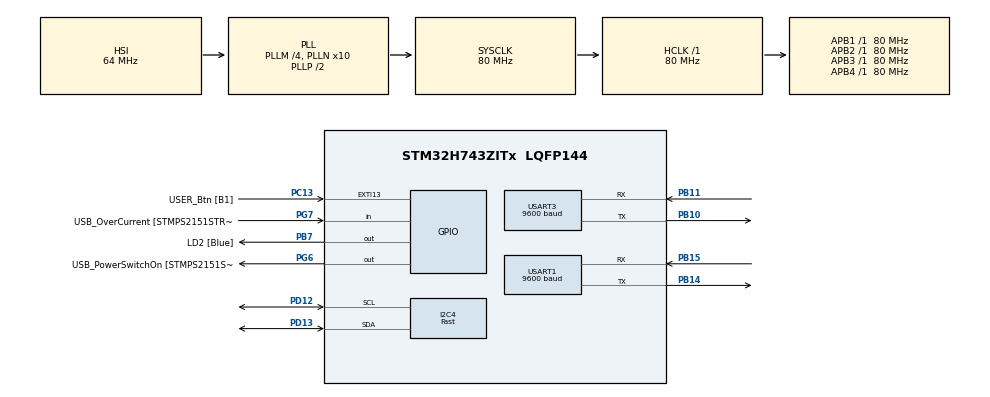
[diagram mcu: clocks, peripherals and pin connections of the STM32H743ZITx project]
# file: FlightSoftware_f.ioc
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FREERTOS.Tasks01=defaultTask,-3,128,StartDefaultTask,Default,NULL,Dynamic,NULL,NULL;GPS_Thread,-3,128,GPS_Entry,Default,NULL,Dynamic,NULL,NULL;XBEE_Thread,-3,128,XBEE_Entry,Default,NULL,Dynamic,NULL,NULL;BMP388_Thread,-3,128,BMP388_Entry,Default,NULL,Dynamic,NULL,NULL;GZP_Thread,-3,128,GZP_Entry,Default,NULL,Dynamic,NULL,NULL;ICM_Thread,-3,128,ICM_Entry,Default,NULL,Dynamic,NULL,NULL
FREERTOS.configUSE_NEWLIB_REENTRANT=1
I2C4.CustomTiming=Disabled
I2C4.I2C_Speed_Mode=I2C_Fast
I2C4.Timing=0x00702991
Mcu.Family=STM32H7
Mcu.Name=STM32H743ZITx
Mcu.Package=LQFP144
NVIC.PriorityGroup=NVIC_PRIORITYGROUP_4
NVIC.TIM1_UP_IRQn=true\:15\:0\:false\:false\:true\:false\:false\:true\:true
NVIC.TimeBase=TIM1_UP_IRQn
NVIC.TimeBaseIP=TIM1
PA1.GPIO_Label=RMII_REF_CLK
PA1.Signal=ETH_REF_CLK
PA10.GPIO_Label=USB_ID
PA10.Signal=USB_OTG_FS_ID
PA11.GPIO_Label=USB_DM
PA11.Signal=USB_OTG_FS_DM
PA12.GPIO_Label=USB_DP
PA12.Signal=USB_OTG_FS_DP
PA13\ (JTMS/SWDIO).GPIO_Label=TMS
PA13\ (JTMS/SWDIO).Signal=DEBUG_JTMS-SWDIO
PA14\ (JTCK/SWCLK).GPIO_Label=TCK
PA14\ (JTCK/SWCLK).Signal=DEBUG_JTCK-SWCLK
PA2.GPIO_Label=RMII_MDIO
PA2.Signal=ETH_MDIO
PA7.GPIO_Label=RMII_CRS_DV
PA7.Signal=ETH_CRS_DV
PA8.GPIO_Label=USB_SOF [TP1]
PA8.Signal=USB_OTG_FS_SOF
PA9.GPIO_Label=USB_VBUS
PA9.Signal=USB_OTG_FS_VBUS
PB10.Mode=Asynchronous
PB10.Signal=USART3_TX
PB11.Mode=Asynchronous
PB11.Signal=USART3_RX
PB13.GPIO_Label=RMII_TXD1
PB13.Signal=ETH_TXD1
PB14.Mode=Asynchronous
PB14.Signal=USART1_TX
PB15.Mode=Asynchronous
PB15.Signal=USART1_RX
PB3\ (JTDO/TRACESWO).GPIO_Label=SWO
PB3\ (JTDO/TRACESWO).Signal=DEBUG_JTDO-SWO
PB7.GPIO_Label=LD2 [Blue]
PB7.Signal=GPIO_Output
PC1.GPIO_Label=RMII_MDC
PC1.Signal=ETH_MDC
PC13.GPIO_Label=USER_Btn [B1]
PC13.Signal=GPXTI13
PC14-OSC32_IN\ (OSC32_IN).Signal=RCC_OSC32_IN
PC15-OSC32_OUT\ (OSC32_OUT).Signal=RCC_OSC32_OUT
PC4.GPIO_Label=RMII_RXD0
PC4.Signal=ETH_RXD0
PC5.GPIO_Label=RMII_RXD1
PC5.Signal=ETH_RXD1
PD12.Mode=I2C
PD12.Signal=I2C4_SCL
PD13.Mode=I2C
PD13.Signal=I2C4_SDA
PG11.GPIO_Label=RMII_TX_EN
PG11.Signal=ETH_TX_EN
PG13.GPIO_Label=RMII_TXD0
PG13.Signal=ETH_TXD0
PG6.GPIO_Label=USB_PowerSwitchOn [STMPS2151STR_EN]
PG6.Signal=GPIO_Output
PG7.GPIO_Label=USB_OverCurrent [STMPS2151STR_FAULT]
PG7.Signal=GPIO_Input
PH0-OSC_IN\ (PH0).GPIO_Label=MCO
PH0-OSC_IN\ (PH0).Signal=RCC_OSC_IN
ProjectManager.HeapSize=0x200
ProjectManager.StackSize=0x400
ProjectManager.TargetToolchain=STM32CubeIDE
RCC.48MHZClocksFreq_Value=24000000
RCC.ADCFreq_Value=129000000
RCC.AHBFreq_Value=216000000
RCC.APB1CLKDivider=RCC_HCLK_DIV4
RCC.APB1Freq_Value=80000000
RCC.APB1TimFreq_Value=108000000
RCC.APB2CLKDivider=RCC_HCLK_DIV2
RCC.APB2Freq_Value=80000000
RCC.APB2TimFreq_Value=216000000
RCC.APB3Freq_Value=80000000
RCC.APB4Freq_Value=80000000
RCC.CortexFreq_Value=80000000
RCC.DIVM1=4
RCC.DIVN1=10
RCC.DIVQ1=4
RCC.HCLKFreq_Value=80000000
RCC.HSE_VALUE=8000000
RCC.HSI_VALUE=64000000
RCC.PLLM=25
RCC.PLLMUL=RCC_PLL_MUL9
RCC.PLLN=432
RCC.PLLQ=9
RCC.PRESCALERUSB=RCC_USBCLKSOURCE_PLL_DIV1_5
RCC.PWR_Regulator_Voltage_Scale=PWR_REGULATOR_VOLTAGE_SCALE1
RCC.SYSCLKFreq_VALUE=80000000
RCC.SYSCLKSource=RCC_SYSCLKSOURCE_PLLCLK
RCC.SYSCLKSourceVirtual=RCC_SYSCLKSOURCE_PLLCLK
RCC.USBFreq_Value=40000000
RCC.VCOOutputFreq_Value=432000000
USART1.BaudRate=9600
USART1.ClockPrescaler=PRESCALER_DIV2
USART1.VirtualMode-Asynchronous=VM_ASYNC
USART3.BaudRate=9600
USART3.ClockPrescaler=PRESCALER_DIV2
USART3.VirtualMode-Asynchronous=VM_ASYNC
VP_FREERTOS_VS_CMSIS_V1.Mode=CMSIS_V1
VP_SYS_VS_tim1.Mode=TIM1
board=NUCLEO-H743ZI

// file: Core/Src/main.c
/* USER CODE BEGIN Header */
/**
  ******************************************************************************
  * @file           : main.c
  * @brief          : Main program body
  ******************************************************************************
  * @attention
  *
  * Copyright (c) 2024 STMicroelectronics.
  * All rights reserved.
  *
  * This software is licensed under terms that can be found in the LICENSE file
  * in the root directory of this software component.
  * If no LICENSE file comes with this software, it is provided AS-IS.
  *
  ******************************************************************************
  */
/* USER CODE END Header */
#include "main.h"
#include "cmsis_os.h"

/* USER CODE BEGIN Includes */
#include "GZP6859D.h"
#include "BMP388.h"
#include "ICM-42688.h"
/* USER CODE END Includes */

/* USER CODE BEGIN PD */
#define PMTK_SET_NMEA_OUTPUT_GGAONLY "$PMTK314,0,0,0,1,0,0,0,0,0,0,0,0,0,0,0,0,0,0,0*29\r\n"
/* USER CODE END PD */

I2C_HandleTypeDef hi2c4;

UART_HandleTypeDef huart1;
UART_HandleTypeDef huart3;

osThreadId defaultTaskHandle;
osThreadId GPS_ThreadHandle;
osThreadId XBEE_ThreadHandle;
osThreadId BMP388_ThreadHandle;
osThreadId GZP_ThreadHandle;
osThreadId ICM_ThreadHandle;
/* USER CODE BEGIN PV */
uint8_t GPS_Buffer[100];
uint8_t GZP_Buffer[5];
uint8_t BMP388_Buffer[10];

uint8_t PACKET[21][10];
uint16_t control = 0;
/* USER CODE END PV */

void SystemClock_Config(void);
static void MX_GPIO_Init(void);
static void MX_USART3_UART_Init(void);
static void MX_USART1_UART_Init(void);
static void MX_I2C4_Init(void);
void StartDefaultTask(void const * argument);
void GPS_Entry(void const * argument);
void XBEE_Entry(void const * argument);
void BMP388_Entry(void const * argument);
void GZP_Entry(void const * argument);
void ICM_Entry(void const * argument);

int main(void)
{

  /* MCU Configuration--------------------------------------------------------*/

  /* Reset of all peripherals, Initializes the Flash interface and the Systick. */
  HAL_Init();

  /* Configure the system clock */
  SystemClock_Config();

  /* Initialize all configured peripherals */
  MX_GPIO_Init();
  MX_USART3_UART_Init();
  MX_USART1_UART_Init();
  MX_I2C4_Init();

  /* Create the thread(s) */
  /* definition and creation of defaultTask */
  osThreadDef(defaultTask, StartDefaultTask, osPriorityIdle, 0, 128);
  defaultTaskHandle = osThreadCreate(osThread(defaultTask), NULL);

  /* definition and creation of GPS_Thread */
  osThreadDef(GPS_Thread, GPS_Entry, osPriorityIdle, 0, 128);
  GPS_ThreadHandle = osThreadCreate(osThread(GPS_Thread), NULL);

  /* definition and creation of XBEE_Thread */
  osThreadDef(XBEE_Thread, XBEE_Entry, osPriorityIdle, 0, 128);
  XBEE_ThreadHandle = osThreadCreate(osThread(XBEE_Thread), NULL);

  /* definition and creation of BMP388_Thread */
  osThreadDef(BMP388_Thread, BMP388_Entry, osPriorityIdle, 0, 128);
  BMP388_ThreadHandle = osThreadCreate(osThread(BMP388_Thread), NULL);

  /* definition and creation of GZP_Thread */
  osThreadDef(GZP_Thread, GZP_Entry, osPriorityIdle, 0, 128);
  GZP_ThreadHandle = osThreadCreate(osThread(GZP_Thread), NULL);

  /* definition and creation of ICM_Thread */
  osThreadDef(ICM_Thread, ICM_Entry, osPriorityIdle, 0, 128);
  ICM_ThreadHandle = osThreadCreate(osThread(ICM_Thread), NULL);

  /* Start scheduler */
  osKernelStart();
  /* We should never get here as control is now taken by the scheduler */
  /* Infinite loop */
  while (1)
  {

  }
}

void SystemClock_Config(void)
{
  RCC_OscInitTypeDef RCC_OscInitStruct = {0};
  RCC_ClkInitTypeDef RCC_ClkInitStruct = {0};

  /** Supply configuration update enable
  */
  HAL_PWREx_ConfigSupply(PWR_LDO_SUPPLY);

  /** Configure the main internal regulator output voltage
  */
  __HAL_PWR_VOLTAGESCALING_CONFIG(PWR_REGULATOR_VOLTAGE_SCALE1);

  while(!__HAL_PWR_GET_FLAG(PWR_FLAG_VOSRDY)) {}

  /** Initializes the RCC Oscillators according to the specified parameters
  * in the RCC_OscInitTypeDef structure.
  */
  RCC_OscInitStruct.OscillatorType = RCC_OSCILLATORTYPE_HSI;
  RCC_OscInitStruct.HSIState = RCC_HSI_DIV1;
  RCC_OscInitStruct.HSICalibrationValue = RCC_HSICALIBRATION_DEFAULT;
  RCC_OscInitStruct.PLL.PLLState = RCC_PLL_ON;
  RCC_OscInitStruct.PLL.PLLSource = RCC_PLLSOURCE_HSI;
  RCC_OscInitStruct.PLL.PLLM = 4;
  RCC_OscInitStruct.PLL.PLLN = 10;
  RCC_OscInitStruct.PLL.PLLP = 2;
  RCC_OscInitStruct.PLL.PLLQ = 4;
  RCC_OscInitStruct.PLL.PLLR = 2;
  RCC_OscInitStruct.PLL.PLLRGE = RCC_PLL1VCIRANGE_3;
  RCC_OscInitStruct.PLL.PLLVCOSEL = RCC_PLL1VCOMEDIUM;
  RCC_OscInitStruct.PLL.PLLFRACN = 0;
  if (HAL_RCC_OscConfig(&RCC_OscInitStruct) != HAL_OK)
  {
    Error_Handler();
  }

  /** Initializes the CPU, AHB and APB buses clocks
  */
  RCC_ClkInitStruct.ClockType = RCC_CLOCKTYPE_HCLK|RCC_CLOCKTYPE_SYSCLK
                              |RCC_CLOCKTYPE_PCLK1|RCC_CLOCKTYPE_PCLK2
                              |RCC_CLOCKTYPE_D3PCLK1|RCC_CLOCKTYPE_D1PCLK1;
  RCC_ClkInitStruct.SYSCLKSource = RCC_SYSCLKSOURCE_PLLCLK;
  RCC_ClkInitStruct.SYSCLKDivider = RCC_SYSCLK_DIV1;
  RCC_ClkInitStruct.AHBCLKDivider = RCC_HCLK_DIV1;
  RCC_ClkInitStruct.APB3CLKDivider = RCC_APB3_DIV1;
  RCC_ClkInitStruct.APB1CLKDivider = RCC_APB1_DIV1;
  RCC_ClkInitStruct.APB2CLKDivider = RCC_APB2_DIV1;
  RCC_ClkInitStruct.APB4CLKDivider = RCC_APB4_DIV1;

  if (HAL_RCC_ClockConfig(&RCC_ClkInitStruct, FLASH_LATENCY_1) != HAL_OK)
  {
    Error_Handler();
  }
}

static void MX_I2C4_Init(void)
{

  hi2c4.Instance = I2C4;
  hi2c4.Init.Timing = 0x00702991;
  hi2c4.Init.OwnAddress1 = 0;
  hi2c4.Init.AddressingMode = I2C_ADDRESSINGMODE_7BIT;
  hi2c4.Init.DualAddressMode = I2C_DUALADDRESS_DISABLE;
  hi2c4.Init.OwnAddress2 = 0;
  hi2c4.Init.OwnAddress2Masks = I2C_OA2_NOMASK;
  hi2c4.Init.GeneralCallMode = I2C_GENERALCALL_DISABLE;
  hi2c4.Init.NoStretchMode = I2C_NOSTRETCH_DISABLE;
  if (HAL_I2C_Init(&hi2c4) != HAL_OK)
  {
    Error_Handler();
  }

  /** Configure Analogue filter
  */
  if (HAL_I2CEx_ConfigAnalogFilter(&hi2c4, I2C_ANALOGFILTER_ENABLE) != HAL_OK)
  {
    Error_Handler();
  }

  /** Configure Digital filter
  */
  if (HAL_I2CEx_ConfigDigitalFilter(&hi2c4, 0) != HAL_OK)
  {
    Error_Handler();
  }

}

static void MX_USART1_UART_Init(void)
{

  huart1.Instance = USART1;
  huart1.Init.BaudRate = 9600;
  huart1.Init.WordLength = UART_WORDLENGTH_8B;
  huart1.Init.StopBits = UART_STOPBITS_1;
  huart1.Init.Parity = UART_PARITY_NONE;
  huart1.Init.Mode = UART_MODE_TX_RX;
  huart1.Init.HwFlowCtl = UART_HWCONTROL_NONE;
  huart1.Init.OverSampling = UART_OVERSAMPLING_16;
  huart1.Init.OneBitSampling = UART_ONE_BIT_SAMPLE_DISABLE;
  huart1.Init.ClockPrescaler = UART_PRESCALER_DIV2;
  huart1.AdvancedInit.AdvFeatureInit = UART_ADVFEATURE_NO_INIT;
  if (HAL_UART_Init(&huart1) != HAL_OK)
  {
    Error_Handler();
  }
  if (HAL_UARTEx_SetTxFifoThreshold(&huart1, UART_TXFIFO_THRESHOLD_1_8) != HAL_OK)
  {
    Error_Handler();
  }
  if (HAL_UARTEx_SetRxFifoThreshold(&huart1, UART_RXFIFO_THRESHOLD_1_8) != HAL_OK)
  {
    Error_Handler();
  }
  if (HAL_UARTEx_DisableFifoMode(&huart1) != HAL_OK)
  {
    Error_Handler();
  }

}

static void MX_USART3_UART_Init(void)
{

  huart3.Instance = USART3;
  huart3.Init.BaudRate = 9600;
  huart3.Init.WordLength = UART_WORDLENGTH_8B;
  huart3.Init.StopBits = UART_STOPBITS_1;
  huart3.Init.Parity = UART_PARITY_NONE;
  huart3.Init.Mode = UART_MODE_TX_RX;
  huart3.Init.HwFlowCtl = UART_HWCONTROL_NONE;
  huart3.Init.OverSampling = UART_OVERSAMPLING_16;
  huart3.Init.OneBitSampling = UART_ONE_BIT_SAMPLE_DISABLE;
  huart3.Init.ClockPrescaler = UART_PRESCALER_DIV2;
  huart3.AdvancedInit.AdvFeatureInit = UART_ADVFEATURE_NO_INIT;
  if (HAL_UART_Init(&huart3) != HAL_OK)
  {
    Error_Handler();
  }
  if (HAL_UARTEx_SetTxFifoThreshold(&huart3, UART_TXFIFO_THRESHOLD_1_8) != HAL_OK)
  {
    Error_Handler();
  }
  if (HAL_UARTEx_SetRxFifoThreshold(&huart3, UART_RXFIFO_THRESHOLD_1_8) != HAL_OK)
  {
    Error_Handler();
  }
  if (HAL_UARTEx_DisableFifoMode(&huart3) != HAL_OK)
  {
    Error_Handler();
  }

}

static void MX_GPIO_Init(void)
{
  GPIO_InitTypeDef GPIO_InitStruct = {0};

  /* GPIO Ports Clock Enable */
  __HAL_RCC_GPIOC_CLK_ENABLE();
  __HAL_RCC_GPIOH_CLK_ENABLE();
  __HAL_RCC_GPIOA_CLK_ENABLE();
  __HAL_RCC_GPIOB_CLK_ENABLE();
  __HAL_RCC_GPIOD_CLK_ENABLE();
  __HAL_RCC_GPIOG_CLK_ENABLE();

  /*Configure GPIO pin Output Level */
  HAL_GPIO_WritePin(USB_PowerSwitchOn_GPIO_Port, USB_PowerSwitchOn_Pin, GPIO_PIN_RESET);

  /*Configure GPIO pin Output Level */
  HAL_GPIO_WritePin(LD2_GPIO_Port, LD2_Pin, GPIO_PIN_RESET);

  /*Configure GPIO pin : USER_Btn_Pin */
  GPIO_InitStruct.Pin = USER_Btn_Pin;
  GPIO_InitStruct.Mode = GPIO_MODE_IT_RISING;
  GPIO_InitStruct.Pull = GPIO_NOPULL;
  HAL_GPIO_Init(USER_Btn_GPIO_Port, &GPIO_InitStruct);

  /*Configure GPIO pins : RMII_MDC_Pin RMII_RXD0_Pin RMII_RXD1_Pin */
  GPIO_InitStruct.Pin = RMII_MDC_Pin|RMII_RXD0_Pin|RMII_RXD1_Pin;
  GPIO_InitStruct.Mode = GPIO_MODE_AF_PP;
  GPIO_InitStruct.Pull = GPIO_NOPULL;
  GPIO_InitStruct.Speed = GPIO_SPEED_FREQ_LOW;
  GPIO_InitStruct.Alternate = GPIO_AF11_ETH;
  HAL_GPIO_Init(GPIOC, &GPIO_InitStruct);

  /*Configure GPIO pins : RMII_REF_CLK_Pin RMII_MDIO_Pin RMII_CRS_DV_Pin */
  GPIO_InitStruct.Pin = RMII_REF_CLK_Pin|RMII_MDIO_Pin|RMII_CRS_DV_Pin;
  GPIO_InitStruct.Mode = GPIO_MODE_AF_PP;
  GPIO_InitStruct.Pull = GPIO_NOPULL;
  GPIO_InitStruct.Speed = GPIO_SPEED_FREQ_LOW;
  GPIO_InitStruct.Alternate = GPIO_AF11_ETH;
  HAL_GPIO_Init(GPIOA, &GPIO_InitStruct);

  /*Configure GPIO pin : RMII_TXD1_Pin */
  GPIO_InitStruct.Pin = RMII_TXD1_Pin;
  GPIO_InitStruct.Mode = GPIO_MODE_AF_PP;
  GPIO_InitStruct.Pull = GPIO_NOPULL;
  GPIO_InitStruct.Speed = GPIO_SPEED_FREQ_LOW;
  GPIO_InitStruct.Alternate = GPIO_AF11_ETH;
  HAL_GPIO_Init(RMII_TXD1_GPIO_Port, &GPIO_InitStruct);

  /*Configure GPIO pin : USB_PowerSwitchOn_Pin */
  GPIO_InitStruct.Pin = USB_PowerSwitchOn_Pin;
  GPIO_InitStruct.Mode = GPIO_MODE_OUTPUT_PP;
  GPIO_InitStruct.Pull = GPIO_NOPULL;
  GPIO_InitStruct.Speed = GPIO_SPEED_FREQ_LOW;
  HAL_GPIO_Init(USB_PowerSwitchOn_GPIO_Port, &GPIO_InitStruct);

  /*Configure GPIO pin : USB_OverCurrent_Pin */
  GPIO_InitStruct.Pin = USB_OverCurrent_Pin;
  GPIO_InitStruct.Mode = GPIO_MODE_INPUT;
  GPIO_InitStruct.Pull = GPIO_NOPULL;
  HAL_GPIO_Init(USB_OverCurrent_GPIO_Port, &GPIO_InitStruct);

  /*Configure GPIO pins : USB_SOF_Pin USB_ID_Pin USB_DM_Pin USB_DP_Pin */
  GPIO_InitStruct.Pin = USB_SOF_Pin|USB_ID_Pin|USB_DM_Pin|USB_DP_Pin;
  GPIO_InitStruct.Mode = GPIO_MODE_AF_PP;
  GPIO_InitStruct.Pull = GPIO_NOPULL;
  GPIO_InitStruct.Speed = GPIO_SPEED_FREQ_LOW;
  GPIO_InitStruct.Alternate = GPIO_AF10_OTG1_FS;
  HAL_GPIO_Init(GPIOA, &GPIO_InitStruct);

  /*Configure GPIO pins : RMII_TX_EN_Pin RMII_TXD0_Pin */
  GPIO_InitStruct.Pin = RMII_TX_EN_Pin|RMII_TXD0_Pin;
  GPIO_InitStruct.Mode = GPIO_MODE_AF_PP;
  GPIO_InitStruct.Pull = GPIO_NOPULL;
  GPIO_InitStruct.Speed = GPIO_SPEED_FREQ_LOW;
  GPIO_InitStruct.Alternate = GPIO_AF11_ETH;
  HAL_GPIO_Init(GPIOG, &GPIO_InitStruct);

  /*Configure GPIO pin : LD2_Pin */
  GPIO_InitStruct.Pin = LD2_Pin;
  GPIO_InitStruct.Mode = GPIO_MODE_OUTPUT_PP;
  GPIO_InitStruct.Pull = GPIO_NOPULL;
  GPIO_InitStruct.Speed = GPIO_SPEED_FREQ_LOW;
  HAL_GPIO_Init(LD2_GPIO_Port, &GPIO_InitStruct);

}

void StartDefaultTask(void const * argument)
{
  /* USER CODE BEGIN 5 */
  /* Infinite loop */
  for(;;)
  {
	  // Let Bit mask know, you would like to read
	  osDelay(10000);
	  for(;;){
		  control |= check;
		  if (control && !(control & (control - 1))){
			  osDelay(10);
			  control &= ~(check);
		  }
		  else continue;
	  }

  }
  /* USER CODE END 5 */
}

void GPS_Entry(void const * argument)
{
  /* USER CODE BEGIN GPS_Entry */
  /* Infinite loop */

	// Sending Configuration String to GPS
	HAL_UART_Transmit(&huart3, (uint8_t *)PMTK_SET_NMEA_OUTPUT_GGAONLY, sizeof(PMTK_SET_NMEA_OUTPUT_GGAONLY), 500);

  for(;;)
  {
	  	 // Bit-mapping Mutex Alike
		if ((control & check) != check){
			//Set this threads bit to 1 to let other threads know its occupied
			control |= (1 << 0);
			//Code goes in here
			HAL_UART_Receive(&huart3, (uint8_t *)GPS_Buffer, sizeof(GPS_Buffer), 1000);
			PACKET[5][0] = 'c';
			//Set this thread bit back off
			control &= ~(1 << 0);
		}

	  //int _ = 0;
  }
  /* USER CODE END GPS_Entry */
}

void XBEE_Entry(void const * argument)
{
  /* USER CODE BEGIN XBEE_Entry */
  /* Infinite loop */

  for(;;)
  {
	  //uint8_t AT_SH [100] = { "This is a test"};
	  // Bit-mapping Mutex Alike
		if ((control & check) != check){
			//Set this threads bit to 1 to let other threads know its occupied
			control |= (1 << 1);
			//Code goes in here
			// Sending Message to other USB.
				//HAL_UART_Transmit(&huart1, (uint8_t *)AT_SH, 20, 1000);

			//This is how to receive a mesage from XBee
//				if (HAL_UART_Receive(&huart1, (uint8_t *)AT_SH, 1, 0) == HAL_OK){
//					auto t = HAL_UART_Receive(&huart1, (uint8_t *)(AT_SH+1), 80, 1000);
//					int i = 9;
//					osDelay(1000);
//				}
				//Set this thread bit back off
				control &= ~(1 << 1);
		}
  }
  /* USER CODE END XBEE_Entry */
}

void BMP388_Entry(void const * argument)
{
  /* USER CODE BEGIN BMP388_Entry */
  /* Infinite loop */
	BMP388_sensor *sensor = BMP388_sensor_create();
	sensor->configure_sensor((BMP388_sensor *)sensor, &hi2c4);
  for(;;)
  {
	  // Bit-mapping Mutex Alike
		if ((control & check) != check){
			//Set this threads bit to 1 to let other threads know its occupied
			control |= (1 << 2);
			//Code goes in here
			  sensor->get_compensated((BMP388_sensor *)sensor, &hi2c4);
			  float temp = sensor->data.T_LIN; //-> C
			  float press = sensor->data.P_LIN; // -> Pa
			  PACKET[5][0] = 'c';
			//Set this thread bit back off
			  control &= ~(1 << 2);
	}

  }
  free(sensor);
  /* USER CODE END BMP388_Entry */
}

void GZP_Entry(void const * argument)
{
  /* USER CODE BEGIN GZP_Entry */
  /* Infinite loop */
  for(;;)
  {
	  // Bit-mapping Mutex Alike
		if ((control & check) != check){
			//Set this threads bit to 1 to let other threads know its occupied
			control |= (1 << 3);
			//Code goes in here
			GZP_READ_DATA(&hi2c4, (uint8_t *) GZP_Buffer);
			double gzp_press = GZP_READ_PRESSURE((uint8_t *) GZP_Buffer);
			double gzp_temp = GZP_READ_TEMP((uint8_t *) GZP_Buffer);
			double gzp_speed = GZP_CALC_SPEED(&hi2c4);
			PACKET[5][0] = 'c';
			osDelay(100);
			//Set this thread bit back off
			control &= ~(1 << 3);
		}

  }
  /* USER CODE END GZP_Entry */
}

void ICM_Entry(void const * argument)
{
  /* USER CODE BEGIN ICM_Entry */
  /* Infinite loop */
	ICM_data *icm_sensor = ICM_sensor_create();
	setup_ICM(&hi2c4);

  for(;;)
  {
	  // Bit-mapping Mutex Alike
	  			if ((control & check) != check){
	  				//Set this threads bit to 1 to let other threads know its occupied
	  				control |= (1 << 4);
	  				//Code goes in here
	  				icm_sensor->collect_data((ICM_data *)icm_sensor,  &hi2c4);
	  				double gyro_x = icm_sensor->GYRO_Y;
	  				PACKET[5][0] = 'c';
	  				//Set this thread bit back off
	  				control &= ~(1 << 4);
	  		}

  }
  /* USER CODE END ICM_Entry */
}

void HAL_TIM_PeriodElapsedCallback(TIM_HandleTypeDef *htim)
{
  if (htim->Instance == TIM1) {
    HAL_IncTick();
  }
}

void Error_Handler(void)
{
  __disable_irq();
  while (1)
  {
  }
}
